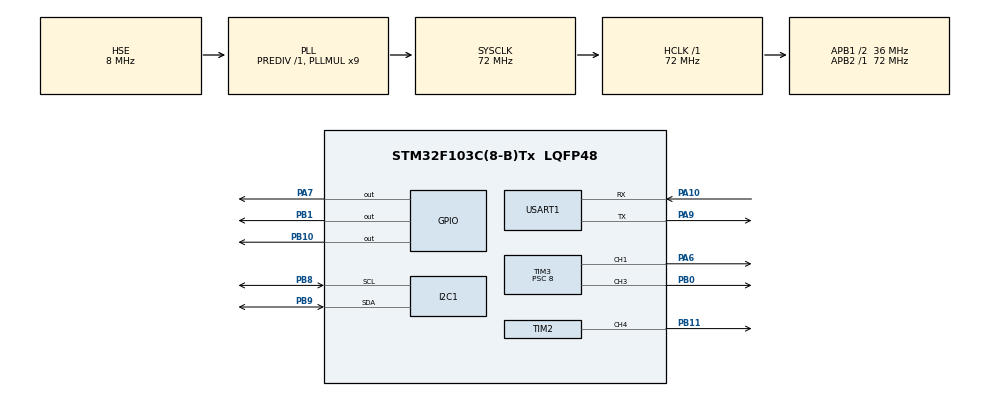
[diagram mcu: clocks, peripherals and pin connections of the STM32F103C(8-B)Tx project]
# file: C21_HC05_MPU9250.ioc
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I2C1.I2C_Mode=I2C_Fast
I2C1.NoStretchMode=I2C_NOSTRETCH_DISABLE
Mcu.Family=STM32F1
Mcu.Name=STM32F103C(8-B)Tx
Mcu.Package=LQFP48
NVIC.PriorityGroup=NVIC_PRIORITYGROUP_4
NVIC.TIM1_UP_IRQn=true\:0\:0\:false\:false\:true\:true\:true
NVIC.TIM4_IRQn=true\:0\:0\:false\:false\:true\:true\:true
PA10.Mode=Asynchronous
PA10.Signal=USART1_RX
PA13.Mode=Serial_Wire
PA13.Signal=SYS_JTMS-SWDIO
PA14.Mode=Serial_Wire
PA14.Signal=SYS_JTCK-SWCLK
PA6.Signal=S_TIM3_CH1
PA7.Signal=GPIO_Output
PA9.Mode=Asynchronous
PA9.Signal=USART1_TX
PB0.Signal=S_TIM3_CH3
PB1.Signal=GPIO_Output
PB10.Signal=GPIO_Output
PB11.Signal=S_TIM2_CH4
PB8.GPIO_Speed=GPIO_SPEED_FREQ_MEDIUM
PB8.Mode=I2C
PB8.Signal=I2C1_SCL
PB9.GPIO_Speed=GPIO_SPEED_FREQ_MEDIUM
PB9.Mode=I2C
PB9.Signal=I2C1_SDA
PD0-OSC_IN.Mode=HSE-External-Oscillator
PD0-OSC_IN.Signal=RCC_OSC_IN
PD1-OSC_OUT.Mode=HSE-External-Oscillator
PD1-OSC_OUT.Signal=RCC_OSC_OUT
ProjectManager.HeapSize=0x200
ProjectManager.StackSize=0x400
ProjectManager.TargetToolchain=STM32CubeIDE
RCC.AHBFreq_Value=72000000
RCC.APB1CLKDivider=RCC_HCLK_DIV2
RCC.APB1Freq_Value=36000000
RCC.APB1TimFreq_Value=72000000
RCC.APB2Freq_Value=72000000
RCC.APB2TimFreq_Value=72000000
RCC.HCLKFreq_Value=72000000
RCC.PLLMUL=RCC_PLL_MUL9
RCC.PLLSourceVirtual=RCC_PLLSOURCE_HSE
RCC.SYSCLKFreq_VALUE=72000000
RCC.SYSCLKSource=RCC_SYSCLKSOURCE_PLLCLK
RCC.USBFreq_Value=72000000
SH.S_TIM2_CH4.0=TIM2_CH4,PWM Generation4 CH4
SH.S_TIM3_CH1.0=TIM3_CH1,PWM Generation1 CH1
SH.S_TIM3_CH3.0=TIM3_CH3,PWM Generation3 CH3
TIM1.Prescaler=71
TIM2.Channel-PWM\ Generation4\ CH4=TIM_CHANNEL_4
TIM2.Prescaler=8
TIM3.Channel-PWM\ Generation1\ CH1=TIM_CHANNEL_1
TIM3.Channel-PWM\ Generation3\ CH3=TIM_CHANNEL_3
TIM3.Period=2000
TIM3.Prescaler=8
TIM4.Prescaler=71
USART1.VirtualMode=VM_ASYNC
VP_TIM1_VS_ClockSourceINT.Mode=Internal
VP_TIM4_VS_ClockSourceINT.Mode=Internal
board=custom

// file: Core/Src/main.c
/* USER CODE BEGIN Header */
/**
  ******************************************************************************
  * @file           : main.c
  * @brief          : Main program body
  ******************************************************************************
  * @attention
  *
  * <h2><center>&copy; Copyright (c) 2020 STMicroelectronics.
  * All rights reserved.</center></h2>
  *
  * This software component is licensed by ST under BSD 3-Clause license,
  * the "License"; You may not use this file except in compliance with the
  * License. You may obtain a copy of the License at:
  *                        opensource.org/licenses/BSD-3-Clause
  *
  ******************************************************************************
  */
/* USER CODE END Header */
#include "main.h"

/* USER CODE BEGIN Includes */
#include "mpu9250.hpp"
#include "mpu_data_type.hpp"
#include "print_func.hpp"
/* USER CODE END Includes */

I2C_HandleTypeDef hi2c1;

TIM_HandleTypeDef htim1;
TIM_HandleTypeDef htim2;
TIM_HandleTypeDef htim3;
TIM_HandleTypeDef htim4;

UART_HandleTypeDef huart1;

void SystemClock_Config(void);
static void MX_GPIO_Init(void);
static void MX_USART1_UART_Init(void);
static void MX_I2C1_Init(void);
static void MX_TIM2_Init(void);
static void MX_TIM3_Init(void);
static void MX_TIM1_Init(void);
static void MX_TIM4_Init(void);

/* USER CODE BEGIN 0 */
IMU_data temp1;
EULER_angle data1;
float roll_acc, pitch_acc, com_angle_roll, com_angle_pitch;
uint16_t P_part;

void print_angle(){
	char buffer[10];
		//
		//	            ftoa(com_angle_roll, buffer, 2);
		//	            strcat(buffer," ");
		//	            HAL_UART_Transmit(&huart1,(uint8_t*) buffer, strlen(buffer),1000);

			            ftoa(com_angle_pitch, buffer, 2);
			            strcat(buffer," ");
			            HAL_UART_Transmit(&huart1,(uint8_t*) buffer, strlen(buffer),1000);

		//	            ftoa(roll_acc, buffer, 2);
		//	            strcat(buffer," ");
		//	            HAL_UART_Transmit(&huart1,(uint8_t*) buffer, strlen(buffer),1000);

			            ftoa(pitch_acc, buffer, 2);
			            strcat(buffer," ");
			            HAL_UART_Transmit(&huart1,(uint8_t*) buffer, strlen(buffer),1000);
		//
		//	            ftoa(temp1.Gyro_x, buffer, 2);
		//	            strcat(buffer," ");
		//	            HAL_UART_Transmit(&huart1,(uint8_t*) buffer, strlen(buffer),1000);

			            ftoa(temp1.Gyro_y, buffer, 2);
			            strcat(buffer," ");
			            HAL_UART_Transmit(&huart1,(uint8_t*) buffer, strlen(buffer),1000);

			            ftoa(0, buffer, 2);
			            strcat(buffer,"\n");
			            HAL_UART_Transmit(&huart1,(uint8_t*) buffer, strlen(buffer),1000);
}
/* USER CODE END 0 */

int main(void)
{

  /* MCU Configuration--------------------------------------------------------*/

  /* Reset of all peripherals, Initializes the Flash interface and the Systick. */
  HAL_Init();

  /* Configure the system clock */
  SystemClock_Config();

  /* Initialize all configured peripherals */
  MX_GPIO_Init();
  MX_USART1_UART_Init();
  MX_I2C1_Init();
  MX_TIM2_Init();
  MX_TIM3_Init();
  MX_TIM1_Init();
  MX_TIM4_Init();
  /* USER CODE BEGIN 2 */
  init_MPU();

//  I2C_ClearBusyFlagErratum(&hi2c1, 1000);
  HAL_GPIO_WritePin(GPIOB,GPIO_PIN_10,GPIO_PIN_SET);
  HAL_GPIO_WritePin(GPIOB,GPIO_PIN_1,GPIO_PIN_SET);
//
  HAL_TIM_PWM_Start(&htim2,TIM_CHANNEL_4);
  HAL_TIM_PWM_Start(&htim3,TIM_CHANNEL_3);
  HAL_TIM_PWM_Start(&htim3,TIM_CHANNEL_1);
//
//  __HAL_TIM_SET_COMPARE(&htim2, TIM_CHANNEL_4, 1000);
//  __HAL_TIM_SET_COMPARE(&htim3, TIM_CHANNEL_3, 1000);
  calibration_IMU();
  HAL_TIM_Base_Start_IT(&htim1);
  HAL_TIM_Base_Start_IT(&htim4);
  /* USER CODE END 2 */

  /* Infinite loop */
  while (1)
  {

    /* USER CODE BEGIN 3 */

//	  print_euler(data1);

////      HAL_GPIO_WritePin(GPIOB,GPIO_PIN_0,GPIO_PIN_SET);
////      HAL_GPIO_WritePin(GPIOB,GPIO_PIN_11,GPIO_PIN_SET);
////      HAL_Delay(1);
////      HAL_GPIO_WritePin(GPIOB,GPIO_PIN_0,GPIO_PIN_RESET);
////      HAL_GPIO_WritePin(GPIOB,GPIO_PIN_11,GPIO_PIN_RESET);
////	  for(int i = 400; i < 10000; i++){
//		  __HAL_TIM_SET_COMPARE(&htim2, TIM_CHANNEL_4,1000);
//		  __HAL_TIM_SET_AUTORELOAD(&htim2,2000);
//
//		  __HAL_TIM_SET_COMPARE(&htim3, TIM_CHANNEL_1,1000);
//		  __HAL_TIM_SET_AUTORELOAD(&htim3,2000);
	  if(com_angle_pitch < 0){

		  HAL_GPIO_WritePin(GPIOA,GPIO_PIN_7,GPIO_PIN_SET);
		 		 		  HAL_GPIO_WritePin(GPIOB,GPIO_PIN_10,GPIO_PIN_RESET);
		 		 		  HAL_GPIO_WritePin(GPIOB,GPIO_PIN_1,GPIO_PIN_RESET);

		  P_part = 0x7FFF + (uint16_t) com_angle_pitch * 1000;
		  __HAL_TIM_SET_COMPARE(&htim2, TIM_CHANNEL_4, P_part);
		  __HAL_TIM_SET_AUTORELOAD(&htim2,2*P_part);

		  __HAL_TIM_SET_COMPARE(&htim3, TIM_CHANNEL_1, P_part);
		  __HAL_TIM_SET_AUTORELOAD(&htim3,2*P_part);
	  }
	  else{
		  HAL_GPIO_WritePin(GPIOA,GPIO_PIN_7,GPIO_PIN_RESET);
		  HAL_GPIO_WritePin(GPIOB,GPIO_PIN_10,GPIO_PIN_SET);
		  HAL_GPIO_WritePin(GPIOB,GPIO_PIN_1,GPIO_PIN_SET);

		 P_part = 0x7FFF - (uint16_t) com_angle_pitch * 1000;
		 __HAL_TIM_SET_COMPARE(&htim2, TIM_CHANNEL_4, P_part);
		 __HAL_TIM_SET_AUTORELOAD(&htim2,2*P_part);

		 __HAL_TIM_SET_COMPARE(&htim3, TIM_CHANNEL_1, P_part);
		 __HAL_TIM_SET_AUTORELOAD(&htim3,2*P_part);
	  }
//////		  HAL_Delay(1);
//////	  }
//	  HAL_Delay(3000);
////////
//	  HAL_GPIO_WritePin(GPIOA,GPIO_PIN_7,GPIO_PIN_RESET);
//	  HAL_GPIO_WritePin(GPIOB,GPIO_PIN_10,GPIO_PIN_RESET);
//	  HAL_GPIO_WritePin(GPIOB,GPIO_PIN_1,GPIO_PIN_RESET);
//	  HAL_Delay(3000);

//	  for(int i = 10000; i > 400; i--){
//			  __HAL_TIM_SET_COMPARE(&htim2, TIM_CHANNEL_4,i);
//			  __HAL_TIM_SET_AUTORELOAD(&htim2, 2*i);
//			  HAL_Delay(1);
//		  }
  }
  /* USER CODE END 3 */
}

void SystemClock_Config(void)
{
  RCC_OscInitTypeDef RCC_OscInitStruct = {0};
  RCC_ClkInitTypeDef RCC_ClkInitStruct = {0};

  /** Initializes the RCC Oscillators according to the specified parameters
  * in the RCC_OscInitTypeDef structure.
  */
  RCC_OscInitStruct.OscillatorType = RCC_OSCILLATORTYPE_HSE;
  RCC_OscInitStruct.HSEState = RCC_HSE_ON;
  RCC_OscInitStruct.HSEPredivValue = RCC_HSE_PREDIV_DIV1;
  RCC_OscInitStruct.HSIState = RCC_HSI_ON;
  RCC_OscInitStruct.PLL.PLLState = RCC_PLL_ON;
  RCC_OscInitStruct.PLL.PLLSource = RCC_PLLSOURCE_HSE;
  RCC_OscInitStruct.PLL.PLLMUL = RCC_PLL_MUL9;
  if (HAL_RCC_OscConfig(&RCC_OscInitStruct) != HAL_OK)
  {
    Error_Handler();
  }
  /** Initializes the CPU, AHB and APB buses clocks
  */
  RCC_ClkInitStruct.ClockType = RCC_CLOCKTYPE_HCLK|RCC_CLOCKTYPE_SYSCLK
                              |RCC_CLOCKTYPE_PCLK1|RCC_CLOCKTYPE_PCLK2;
  RCC_ClkInitStruct.SYSCLKSource = RCC_SYSCLKSOURCE_PLLCLK;
  RCC_ClkInitStruct.AHBCLKDivider = RCC_SYSCLK_DIV1;
  RCC_ClkInitStruct.APB1CLKDivider = RCC_HCLK_DIV2;
  RCC_ClkInitStruct.APB2CLKDivider = RCC_HCLK_DIV1;

  if (HAL_RCC_ClockConfig(&RCC_ClkInitStruct, FLASH_LATENCY_2) != HAL_OK)
  {
    Error_Handler();
  }
}

static void MX_I2C1_Init(void)
{

  hi2c1.Instance = I2C1;
  hi2c1.Init.ClockSpeed = 400000;
  hi2c1.Init.DutyCycle = I2C_DUTYCYCLE_2;
  hi2c1.Init.OwnAddress1 = 0;
  hi2c1.Init.AddressingMode = I2C_ADDRESSINGMODE_7BIT;
  hi2c1.Init.DualAddressMode = I2C_DUALADDRESS_DISABLE;
  hi2c1.Init.OwnAddress2 = 0;
  hi2c1.Init.GeneralCallMode = I2C_GENERALCALL_DISABLE;
  hi2c1.Init.NoStretchMode = I2C_NOSTRETCH_DISABLE;
  if (HAL_I2C_Init(&hi2c1) != HAL_OK)
  {
    Error_Handler();
  }

}

static void MX_TIM1_Init(void)
{

  TIM_ClockConfigTypeDef sClockSourceConfig = {0};
  TIM_MasterConfigTypeDef sMasterConfig = {0};

  htim1.Instance = TIM1;
  htim1.Init.Prescaler = 71;
  htim1.Init.CounterMode = TIM_COUNTERMODE_UP;
  htim1.Init.Period = 65535;
  htim1.Init.ClockDivision = TIM_CLOCKDIVISION_DIV1;
  htim1.Init.RepetitionCounter = 0;
  htim1.Init.AutoReloadPreload = TIM_AUTORELOAD_PRELOAD_DISABLE;
  if (HAL_TIM_Base_Init(&htim1) != HAL_OK)
  {
    Error_Handler();
  }
  sClockSourceConfig.ClockSource = TIM_CLOCKSOURCE_INTERNAL;
  if (HAL_TIM_ConfigClockSource(&htim1, &sClockSourceConfig) != HAL_OK)
  {
    Error_Handler();
  }
  sMasterConfig.MasterOutputTrigger = TIM_TRGO_RESET;
  sMasterConfig.MasterSlaveMode = TIM_MASTERSLAVEMODE_DISABLE;
  if (HAL_TIMEx_MasterConfigSynchronization(&htim1, &sMasterConfig) != HAL_OK)
  {
    Error_Handler();
  }

}

static void MX_TIM2_Init(void)
{

  TIM_MasterConfigTypeDef sMasterConfig = {0};
  TIM_OC_InitTypeDef sConfigOC = {0};

  htim2.Instance = TIM2;
  htim2.Init.Prescaler = 8;
  htim2.Init.CounterMode = TIM_COUNTERMODE_UP;
  htim2.Init.Period = 65535;
  htim2.Init.ClockDivision = TIM_CLOCKDIVISION_DIV1;
  htim2.Init.AutoReloadPreload = TIM_AUTORELOAD_PRELOAD_DISABLE;
  if (HAL_TIM_PWM_Init(&htim2) != HAL_OK)
  {
    Error_Handler();
  }
  sMasterConfig.MasterOutputTrigger = TIM_TRGO_RESET;
  sMasterConfig.MasterSlaveMode = TIM_MASTERSLAVEMODE_DISABLE;
  if (HAL_TIMEx_MasterConfigSynchronization(&htim2, &sMasterConfig) != HAL_OK)
  {
    Error_Handler();
  }
  sConfigOC.OCMode = TIM_OCMODE_PWM1;
  sConfigOC.Pulse = 0;
  sConfigOC.OCPolarity = TIM_OCPOLARITY_HIGH;
  sConfigOC.OCFastMode = TIM_OCFAST_DISABLE;
  if (HAL_TIM_PWM_ConfigChannel(&htim2, &sConfigOC, TIM_CHANNEL_4) != HAL_OK)
  {
    Error_Handler();
  }
  HAL_TIM_MspPostInit(&htim2);

}

static void MX_TIM3_Init(void)
{

  TIM_MasterConfigTypeDef sMasterConfig = {0};
  TIM_OC_InitTypeDef sConfigOC = {0};

  htim3.Instance = TIM3;
  htim3.Init.Prescaler = 8;
  htim3.Init.CounterMode = TIM_COUNTERMODE_UP;
  htim3.Init.Period = 2000;
  htim3.Init.ClockDivision = TIM_CLOCKDIVISION_DIV1;
  htim3.Init.AutoReloadPreload = TIM_AUTORELOAD_PRELOAD_DISABLE;
  if (HAL_TIM_PWM_Init(&htim3) != HAL_OK)
  {
    Error_Handler();
  }
  sMasterConfig.MasterOutputTrigger = TIM_TRGO_RESET;
  sMasterConfig.MasterSlaveMode = TIM_MASTERSLAVEMODE_DISABLE;
  if (HAL_TIMEx_MasterConfigSynchronization(&htim3, &sMasterConfig) != HAL_OK)
  {
    Error_Handler();
  }
  sConfigOC.OCMode = TIM_OCMODE_PWM1;
  sConfigOC.Pulse = 0;
  sConfigOC.OCPolarity = TIM_OCPOLARITY_HIGH;
  sConfigOC.OCFastMode = TIM_OCFAST_DISABLE;
  if (HAL_TIM_PWM_ConfigChannel(&htim3, &sConfigOC, TIM_CHANNEL_1) != HAL_OK)
  {
    Error_Handler();
  }
  if (HAL_TIM_PWM_ConfigChannel(&htim3, &sConfigOC, TIM_CHANNEL_3) != HAL_OK)
  {
    Error_Handler();
  }
  HAL_TIM_MspPostInit(&htim3);

}

static void MX_TIM4_Init(void)
{

  TIM_ClockConfigTypeDef sClockSourceConfig = {0};
  TIM_MasterConfigTypeDef sMasterConfig = {0};

  htim4.Instance = TIM4;
  htim4.Init.Prescaler = 71;
  htim4.Init.CounterMode = TIM_COUNTERMODE_UP;
  htim4.Init.Period = 65535;
  htim4.Init.ClockDivision = TIM_CLOCKDIVISION_DIV1;
  htim4.Init.AutoReloadPreload = TIM_AUTORELOAD_PRELOAD_DISABLE;
  if (HAL_TIM_Base_Init(&htim4) != HAL_OK)
  {
    Error_Handler();
  }
  sClockSourceConfig.ClockSource = TIM_CLOCKSOURCE_INTERNAL;
  if (HAL_TIM_ConfigClockSource(&htim4, &sClockSourceConfig) != HAL_OK)
  {
    Error_Handler();
  }
  sMasterConfig.MasterOutputTrigger = TIM_TRGO_RESET;
  sMasterConfig.MasterSlaveMode = TIM_MASTERSLAVEMODE_DISABLE;
  if (HAL_TIMEx_MasterConfigSynchronization(&htim4, &sMasterConfig) != HAL_OK)
  {
    Error_Handler();
  }

}

static void MX_USART1_UART_Init(void)
{

  huart1.Instance = USART1;
  huart1.Init.BaudRate = 115200;
  huart1.Init.WordLength = UART_WORDLENGTH_8B;
  huart1.Init.StopBits = UART_STOPBITS_1;
  huart1.Init.Parity = UART_PARITY_NONE;
  huart1.Init.Mode = UART_MODE_TX_RX;
  huart1.Init.HwFlowCtl = UART_HWCONTROL_NONE;
  huart1.Init.OverSampling = UART_OVERSAMPLING_16;
  if (HAL_UART_Init(&huart1) != HAL_OK)
  {
    Error_Handler();
  }

}

static void MX_GPIO_Init(void)
{
  GPIO_InitTypeDef GPIO_InitStruct = {0};

  /* GPIO Ports Clock Enable */
  __HAL_RCC_GPIOD_CLK_ENABLE();
  __HAL_RCC_GPIOA_CLK_ENABLE();
  __HAL_RCC_GPIOB_CLK_ENABLE();

  /*Configure GPIO pin Output Level */
  HAL_GPIO_WritePin(GPIOA, GPIO_PIN_7, GPIO_PIN_RESET);

  /*Configure GPIO pin Output Level */
  HAL_GPIO_WritePin(GPIOB, GPIO_PIN_1|GPIO_PIN_10, GPIO_PIN_RESET);

  /*Configure GPIO pin : PA7 */
  GPIO_InitStruct.Pin = GPIO_PIN_7;
  GPIO_InitStruct.Mode = GPIO_MODE_OUTPUT_PP;
  GPIO_InitStruct.Pull = GPIO_NOPULL;
  GPIO_InitStruct.Speed = GPIO_SPEED_FREQ_LOW;
  HAL_GPIO_Init(GPIOA, &GPIO_InitStruct);

  /*Configure GPIO pins : PB1 PB10 */
  GPIO_InitStruct.Pin = GPIO_PIN_1|GPIO_PIN_10;
  GPIO_InitStruct.Mode = GPIO_MODE_OUTPUT_PP;
  GPIO_InitStruct.Pull = GPIO_NOPULL;
  GPIO_InitStruct.Speed = GPIO_SPEED_FREQ_LOW;
  HAL_GPIO_Init(GPIOB, &GPIO_InitStruct);

}

/* USER CODE BEGIN 4 */
void HAL_TIM_PeriodElapsedCallback(TIM_HandleTypeDef *htim){
	if(htim->Instance == htim1.Instance){
	  temp1 = process_MPU(0,0);
		  roll_acc = atan2(temp1.Acc_y,temp1.Acc_z)*RAD2DEC;
		  pitch_acc = atan(temp1.Acc_x/sqrt(temp1.Acc_y*temp1.Acc_y + temp1.Acc_z*temp1.Acc_z))*RAD2DEC;
	      if(roll_acc > 0){
		      com_angle_roll = 0.9*(com_angle_roll + 0.01*temp1.Gyro_x) + (1-0.9)*(180 - roll_acc);
	      }
	      else{
		      com_angle_roll = 0.9*(com_angle_roll + 0.01*temp1.Gyro_x) + (1-0.9)*(180 + roll_acc);
	      }
		  com_angle_pitch = 0.9*(com_angle_pitch + 0.01*temp1.Gyro_y) + (1-0.9)*pitch_acc;
	}
}
/* USER CODE END 4 */

void Error_Handler(void)
{
}

/************************ (C) COPYRIGHT STMicroelectronics *****END OF FILE****/
